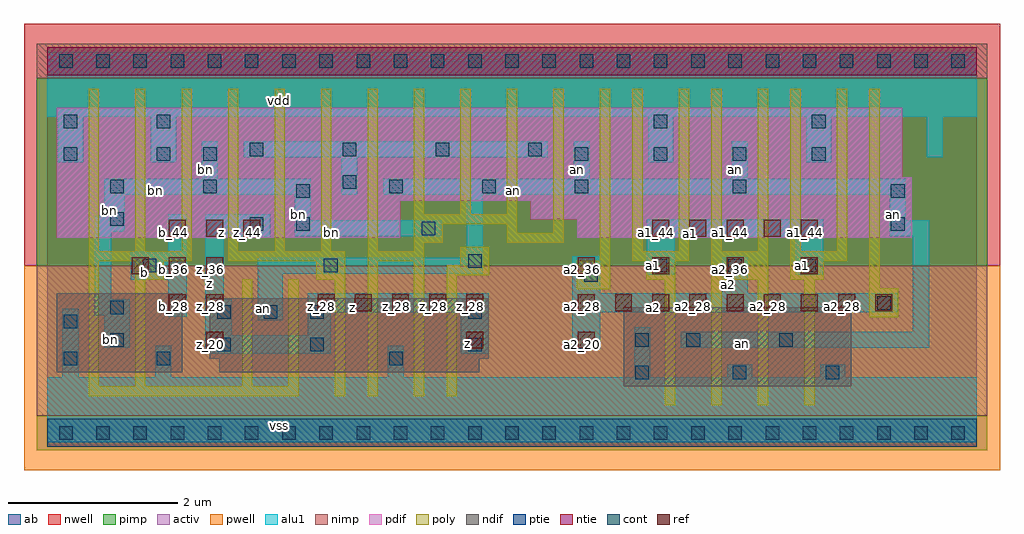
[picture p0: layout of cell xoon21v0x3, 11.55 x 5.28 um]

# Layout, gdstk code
import gdstk
lib = gdstk.Library(unit=1e-6, precision=2.5e-09)
def R(c, l, rs):  # rectangles x0, y0, x1, y1
    for r in rs: c.add(gdstk.rectangle(r[:2], r[2:], *l))
def A(c, l, x, y, w, h, nx, ny, dx, dy):  # array of equal rectangles
    R(c, l, [(x+i*dx, y+j*dy, x+i*dx+w, y+j*dy+h) for i in range(nx) for j in range(ny)])
ndif = (3, 0)
pdif = (4, 0)
ntie = (5, 0)
ptie = (6, 0)
ref = (24, 0)
cont = (25, 0)
pwell = (41, 0)
nwell = (42, 0)
activ = (43, 0)
pimp = (44, 0)
nimp = (45, 0)
poly = (46, 0)
alu1 = (49, 0)
ab = (63, 0)

xoon21v0x3 = lib.new_cell('xoon21v0x3')
R(xoon21v0x3, ndif, [(6.82,0.55,9.515,1.485), (0.11,0.715,1.595,1.65), (2.035,0.715,5.115,0.88), (1.925,0.88,5.225,1.595)])
R(xoon21v0x3, pdif, [(0.11,2.31,4.18,2.75), (6.27,2.31,10.23,2.53), (5.72,2.53,10.23,2.75), (0.11,2.75,10.23,3.025), (0.11,3.025,10.12,3.85)])
R(xoon21v0x3, ntie, [(0,4.235,11,4.565)])
R(xoon21v0x3, ptie, [(0,-0.165,11,0.165)])
A(xoon21v0x3, ref, 3.2, 1.44, 0.2, 0.2, 5, 1, 0.44, 0)
A(xoon21v0x3, ref, 6.28, 1.44, 0.2, 0.2, 9, 1, 0.44, 0)
A(xoon21v0x3, ref, 1, 1.88, 0.2, 0.2, 3, 1, 0.44, 0)
A(xoon21v0x3, ref, 6.28, 1.88, 0.2, 0.2, 4, 1, 0.88, 0)
A(xoon21v0x3, ref, 1.44, 2.32, 0.2, 0.2, 3, 1, 0.44, 0)
A(xoon21v0x3, ref, 7.16, 2.32, 0.2, 0.2, 5, 1, 0.44, 0)
R(xoon21v0x3, ref, [(1.88,1,2.08,1.2), (4.96,1,5.16,1.2), (6.28,1,6.48,1.2), (1.44,1.44,1.64,1.64), (1.88,1.44,2.08,1.64)])
A(xoon21v0x3, cont, 0.14, -0.08, 0.16, 0.16, 25, 2, 0.44, 4.4)
A(xoon21v0x3, cont, 2.01, 1.35, 0.16, 0.16, 3, 1, 0.55, 0)
A(xoon21v0x3, cont, 7.18, 1.9, 0.16, 0.16, 3, 1, 0.88, 0)
A(xoon21v0x3, cont, 4.045, 2.835, 0.16, 0.16, 3, 1, 1.1, 0)
A(xoon21v0x3, cont, 6.245, 3.22, 0.16, 0.16, 4, 1, 0.935, 0)
A(xoon21v0x3, cont, 2.395, 3.275, 0.16, 0.16, 4, 1, 1.1, 0)
R(xoon21v0x3, cont, [(6.96,0.635,7.12,0.795), (8.115,0.635,8.275,0.795), (9.215,0.635,9.375,0.795), (0.195,0.8,0.355,0.96), (1.295,0.8,1.455,0.96), (4.045,0.8,4.205,0.96), (2.01,0.965,2.17,1.125), (3.11,0.965,3.27,1.125), (4.98,0.965,5.14,1.125), (0.745,1.02,0.905,1.18), (6.96,1.02,7.12,1.18), (7.565,1.02,7.725,1.18), (8.665,1.02,8.825,1.18), (0.195,1.24,0.355,1.4), (4.98,1.35,5.14,1.51), (0.745,1.405,0.905,1.565), (9.82,1.46,9.98,1.62), (6.355,1.79,6.515,1.95), (1.13,1.9,1.29,2.06), (3.275,1.9,3.435,2.06), (4.98,1.955,5.14,2.115), (4.43,2.34,4.59,2.5), (2.395,2.395,2.555,2.555), (2.945,2.395,3.105,2.555), (9.985,2.395,10.145,2.555), (0.745,2.45,0.905,2.61), (2.945,2.78,3.105,2.94), (9.985,2.78,10.145,2.94), (0.745,2.835,0.905,2.995), (1.845,2.835,2.005,2.995), (8.115,2.835,8.275,2.995), (3.495,2.89,3.655,3.05), (0.195,3.22,0.355,3.38), (1.295,3.22,1.455,3.38), (1.845,3.22,2.005,3.38), (0.195,3.605,0.355,3.765), (1.295,3.605,1.455,3.765), (7.18,3.605,7.34,3.765), (9.05,3.605,9.21,3.765)])
R(xoon21v0x3, pwell, [(-0.275,-0.44,11.275,1.98)])
R(xoon21v0x3, nwell, [(-0.275,1.98,11.275,4.84)])
R(xoon21v0x3, activ, [(0,-0.165,11,0.165), (6.82,0.55,9.515,1.485), (0.11,0.715,1.595,1.65), (2.035,0.715,5.115,0.88), (1.925,0.88,5.225,1.595), (0.11,2.31,4.18,2.75), (6.27,2.31,10.23,2.53), (5.72,2.53,10.23,2.75), (0.11,2.75,10.23,3.025), (0.11,3.025,10.12,3.85), (0,4.235,11,4.565)])
R(xoon21v0x3, pimp, [(-0.125,-0.205,11.125,0.205), (-0.125,1.98,11.125,4.195)])
R(xoon21v0x3, nimp, [(-0.125,0.205,11.125,1.98), (-0.125,4.195,11.125,4.605)])
A(xoon21v0x3, poly, 7.31, 0.325, 0.12, 1.485, 4, 1, 0.55, 0)
A(xoon21v0x3, poly, 0.49, 2.15, 0.12, 1.925, 7, 1, 0.55, 0)
A(xoon21v0x3, poly, 4.34, 2.59, 0.12, 1.485, 3, 1, 0.55, 0)
R(xoon21v0x3, poly, [(0.49,0.435,2.975,0.555), (3.405,0.435,3.525,1.81), (3.79,0.435,3.91,2.03), (4.34,0.435,4.46,2.03), (4.725,0.435,4.845,1.865), (0.49,0.555,0.61,2.03), (1.04,0.555,1.16,1.81), (2.305,0.555,2.425,1.82), (2.855,0.555,2.975,1.82), (9.73,1.37,10.07,1.71), (6.265,1.7,6.66,2.04), (9.73,1.71,9.85,4.075), (1.04,1.81,1.38,2.03), (3.185,1.81,3.525,2.03), (7.09,1.81,7.43,2.03), (7.86,1.81,8.53,2.15), (8.795,1.81,9.19,2.03), (4.725,1.865,5.23,1.985), (4.89,1.985,5.23,2.205), (0.49,2.03,1.71,2.15), (2.14,2.03,3.525,2.15), (3.79,2.03,4.46,2.15), (6.925,2.03,7.595,2.15), (8.795,2.03,9.465,2.15), (6.54,2.04,6.66,4.075), (4.34,2.15,4.46,2.25), (6.925,2.15,7.045,4.075), (7.475,2.15,7.595,4.075), (7.86,2.15,7.98,4.075), (8.41,2.15,8.53,4.075), (8.795,2.15,8.915,4.075), (9.345,2.15,9.465,4.075), (4.34,2.25,4.68,2.47), (5.44,2.25,6.11,2.37), (5.44,2.37,5.56,2.47), (5.99,2.37,6.11,4.075), (4.34,2.47,5.56,2.59)])
R(xoon21v0x3, alu1, [(0,-0.11,11,0.66), (0.18,0.66,0.37,1.47), (1.28,0.66,1.47,1.03), (4.03,0.66,4.22,1.03), (6.945,0.66,7.135,1.25), (8.045,0.66,8.345,0.81), (9.145,0.66,9.445,0.81), (1.87,0.935,3.355,1.155), (4.895,0.935,5.225,1.43), (6.215,0.99,6.545,1.43), (0.675,1.005,0.975,1.39), (7.495,1.005,10.435,1.195), (1.87,1.155,2.185,1.58), (3.08,1.155,3.355,1.43), (10.245,1.195,10.435,2.325), (2.49,1.335,2.79,1.885), (1.43,1.375,1.65,1.815), (0.565,1.39,0.975,1.58), (3.08,1.43,5.225,1.65), (6.215,1.43,10.065,1.65), (0.565,1.58,0.755,2.38), (1.87,1.58,2.09,2.31), (6.215,1.65,6.545,2.09), (7.99,1.65,8.29,2.075), (0.99,1.815,1.65,2.145), (7.095,1.87,7.425,2.31), (8.855,1.87,9.185,2.31), (2.49,1.885,5.155,2.075), (4.965,2.075,5.155,2.82), (8.03,2.075,8.25,2.09), (1.43,2.145,1.65,2.585), (1.87,2.31,2.64,2.585), (7.095,2.31,9.185,2.53), (2.93,2.325,4.66,2.515), (9.97,2.325,10.435,2.515), (0.565,2.38,0.92,2.57), (2.93,2.515,3.12,2.82), (9.97,2.515,10.16,2.82), (0.675,2.57,0.92,2.82), (0.675,2.82,3.12,3.01), (3.48,2.82,3.67,3.26), (3.975,2.82,10.16,3.01), (1.83,3.01,2.02,3.45), (6.23,3.01,6.42,3.45), (8.1,3.01,8.29,3.45), (0.125,3.205,0.425,3.74), (1.225,3.205,1.525,3.74), (7.11,3.205,7.41,3.74), (8.98,3.205,9.28,3.74), (2.325,3.26,5.925,3.45), (10.41,3.26,10.6,3.74), (0,3.74,11,4.51)])
R(xoon21v0x3, ab, [(0,0,11,4.4)])
xoon21v0x3.add(gdstk.Label('vss', (2.75,0.0825), layer=49, texttype=0))
xoon21v0x3.add(gdstk.Label('an', (8.23,1.0525), layer=49, texttype=0))
xoon21v0x3.add(gdstk.Label('a2', (7.1775,1.485), layer=49, texttype=0))
xoon21v0x3.add(gdstk.Label('z', (4.9775,1.0575), layer=49, texttype=0))
xoon21v0x3.add(gdstk.Label('z', (3.615,1.485), layer=49, texttype=0))
xoon21v0x3.add(gdstk.Label('a1', (8.9375,1.98), layer=49, texttype=0))
xoon21v0x3.add(gdstk.Label('a2', (8.065,1.755), layer=49, texttype=0))
xoon21v0x3.add(gdstk.Label('a1', (7.1775,1.98), layer=49, texttype=0))
xoon21v0x3.add(gdstk.Label('an', (2.565,1.4725), layer=49, texttype=0))
xoon21v0x3.add(gdstk.Label('an', (10.0175,2.59), layer=49, texttype=0))
xoon21v0x3.add(gdstk.Label('a1', (7.6175,2.365), layer=49, texttype=0))
xoon21v0x3.add(gdstk.Label('z', (1.925,1.7625), layer=49, texttype=0))
xoon21v0x3.add(gdstk.Label('bn', (3.3625,2.3725), layer=49, texttype=0))
xoon21v0x3.add(gdstk.Label('bn', (2.9775,2.59), layer=49, texttype=0))
xoon21v0x3.add(gdstk.Label('z', (2.0625,2.3775), layer=49, texttype=0))
xoon21v0x3.add(gdstk.Label('bn', (0.75,1.1), layer=49, texttype=0))
xoon21v0x3.add(gdstk.Label('b', (1.155,1.8975), layer=49, texttype=0))
xoon21v0x3.add(gdstk.Label('bn', (0.735,2.6325), layer=49, texttype=0))
xoon21v0x3.add(gdstk.Label('an', (5.52,2.8675), layer=49, texttype=0))
xoon21v0x3.add(gdstk.Label('an', (8.1475,3.12), layer=49, texttype=0))
xoon21v0x3.add(gdstk.Label('an', (6.2775,3.12), layer=49, texttype=0))
xoon21v0x3.add(gdstk.Label('bn', (1.285,2.8675), layer=49, texttype=0))
xoon21v0x3.add(gdstk.Label('bn', (1.8775,3.12), layer=49, texttype=0))
xoon21v0x3.add(gdstk.Label('vdd', (2.75,3.9325), layer=49, texttype=0))
xoon21v0x3.add(gdstk.Label('a2_20', (6.33,1.05), layer=24, texttype=0))
xoon21v0x3.add(gdstk.Label('a2_28', (6.33,1.49), layer=24, texttype=0))
xoon21v0x3.add(gdstk.Label('a2_36', (6.33,1.93), layer=24, texttype=0))
xoon21v0x3.add(gdstk.Label('a2_28', (6.77,1.49), layer=24, texttype=0))
xoon21v0x3.add(gdstk.Label('a2_28', (7.21,1.49), layer=24, texttype=0))
xoon21v0x3.add(gdstk.Label('a1_36', (7.21,1.93), layer=24, texttype=0))
xoon21v0x3.add(gdstk.Label('a1_44', (7.21,2.37), layer=24, texttype=0))
xoon21v0x3.add(gdstk.Label('a2_28', (7.65,1.49), layer=24, texttype=0))
xoon21v0x3.add(gdstk.Label('a1_44', (7.65,2.37), layer=24, texttype=0))
xoon21v0x3.add(gdstk.Label('a2_28', (8.09,1.49), layer=24, texttype=0))
xoon21v0x3.add(gdstk.Label('a2_36', (8.09,1.93), layer=24, texttype=0))
xoon21v0x3.add(gdstk.Label('a1_44', (8.09,2.37), layer=24, texttype=0))
xoon21v0x3.add(gdstk.Label('a2_28', (8.53,1.49), layer=24, texttype=0))
xoon21v0x3.add(gdstk.Label('a1_44', (8.53,2.37), layer=24, texttype=0))
xoon21v0x3.add(gdstk.Label('a2_28', (8.97,1.49), layer=24, texttype=0))
xoon21v0x3.add(gdstk.Label('a1_36', (8.97,1.93), layer=24, texttype=0))
xoon21v0x3.add(gdstk.Label('a1_44', (8.97,2.37), layer=24, texttype=0))
xoon21v0x3.add(gdstk.Label('a2_28', (9.41,1.49), layer=24, texttype=0))
xoon21v0x3.add(gdstk.Label('a2_28', (9.85,1.49), layer=24, texttype=0))
xoon21v0x3.add(gdstk.Label('b_36', (1.05,1.93), layer=24, texttype=0))
xoon21v0x3.add(gdstk.Label('b_28', (1.49,1.49), layer=24, texttype=0))
xoon21v0x3.add(gdstk.Label('b_36', (1.49,1.93), layer=24, texttype=0))
xoon21v0x3.add(gdstk.Label('b_44', (1.49,2.37), layer=24, texttype=0))
xoon21v0x3.add(gdstk.Label('z_20', (1.93,1.05), layer=24, texttype=0))
xoon21v0x3.add(gdstk.Label('z_28', (1.93,1.49), layer=24, texttype=0))
xoon21v0x3.add(gdstk.Label('z_36', (1.93,1.93), layer=24, texttype=0))
xoon21v0x3.add(gdstk.Label('z_44', (1.93,2.37), layer=24, texttype=0))
xoon21v0x3.add(gdstk.Label('z_44', (2.37,2.37), layer=24, texttype=0))
xoon21v0x3.add(gdstk.Label('z_28', (3.25,1.49), layer=24, texttype=0))
xoon21v0x3.add(gdstk.Label('z_28', (3.69,1.49), layer=24, texttype=0))
xoon21v0x3.add(gdstk.Label('z_28', (4.13,1.49), layer=24, texttype=0))
xoon21v0x3.add(gdstk.Label('z_28', (4.57,1.49), layer=24, texttype=0))
xoon21v0x3.add(gdstk.Label('z_20', (5.01,1.05), layer=24, texttype=0))
xoon21v0x3.add(gdstk.Label('z_28', (5.01,1.49), layer=24, texttype=0))

lib.write_gds('xoon21v0x3.gds')
